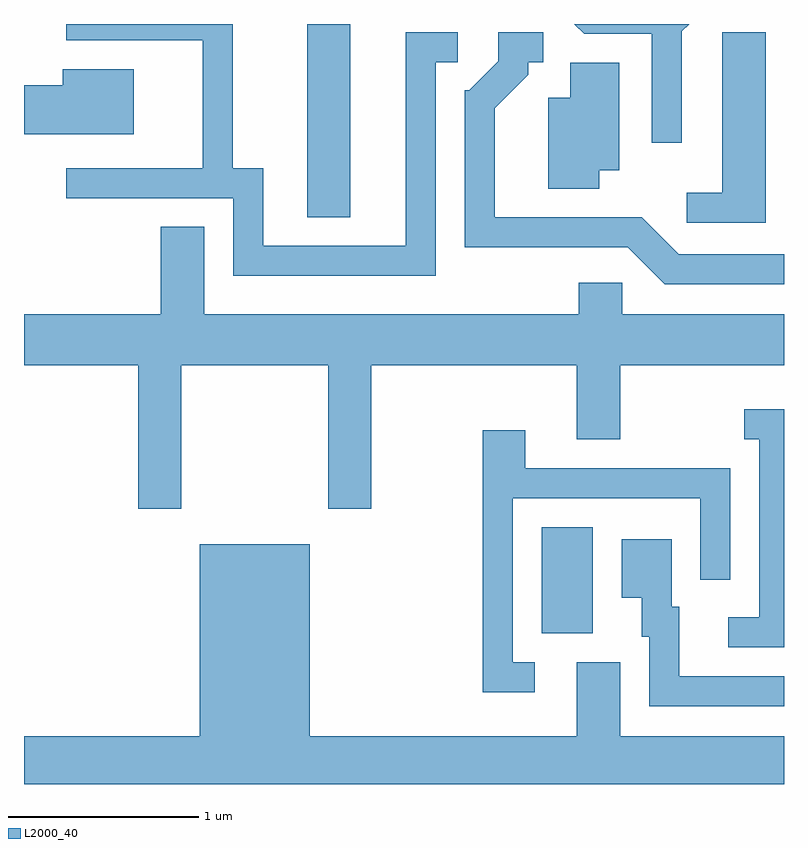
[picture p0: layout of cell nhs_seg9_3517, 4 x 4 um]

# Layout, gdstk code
import gdstk
lib = gdstk.Library(unit=1e-6, precision=1e-09)
def R(c, l, rs):  # rectangles x0, y0, x1, y1
    for r in rs: c.add(gdstk.rectangle(r[:2], r[2:], *l))
def P(c, l, *ps):  # polygons
    for p in ps: c.add(gdstk.Polygon(p, *l))
L2000_40 = (2000, 40)

nhs_seg9_3517 = lib.new_cell('nhs_seg9_3517')
R(nhs_seg9_3517, L2000_40, [(290.336,2059.226,290.604,2059.784), (289.101,2061.416,289.329,2062.432)])
P(nhs_seg9_3517, L2000_40, [(291.074,2062.394),(291.112,2062.432),(290.508,2062.432),(290.559,2062.381),(290.916,2062.381),(290.916,2061.808),(291.074,2061.808)],
  [(289.779,2062.231),(289.893,2062.231),(289.893,2062.389),(289.621,2062.389),(289.621,2061.264),(288.869,2061.264),(288.869,2061.674),(288.709,2061.674),(288.709,2062.432),(287.833,2062.432),(287.833,2062.346),(288.551,2062.346),(288.551,2061.674),(287.833,2061.674),(287.833,2061.516),(288.711,2061.516),(288.711,2061.106),(289.779,2061.106)],
  [(291.514,2062.389),(291.286,2062.389),(291.286,2061.544),(291.098,2061.544),(291.098,2061.386),(291.514,2061.386)],
  [(291.611,2061.219),(291.057,2061.219),(290.862,2061.414),(290.089,2061.414),(290.089,2061.989),(290.264,2062.164),(290.264,2062.231),(290.343,2062.231),(290.343,2062.389),(290.106,2062.389),(290.106,2062.237),(289.954,2062.084),(289.931,2062.084),(289.931,2061.256),(290.789,2061.256),(290.984,2061.061),(291.611,2061.061)],
  [(290.639,2061.661),(290.744,2061.661),(290.744,2062.229),(290.486,2062.229),(290.486,2062.044),(290.371,2062.044),(290.371,2061.566),(290.639,2061.566)],
  [(288.189,2062.194),(287.816,2062.194),(287.816,2062.109),(287.611,2062.109),(287.611,2061.851),(288.189,2061.851)],
  [(288.439,2060.636),(289.211,2060.636),(289.211,2059.881),(289.439,2059.881),(289.439,2060.636),(290.521,2060.636),(290.521,2060.246),(290.749,2060.246),(290.749,2060.636),(291.611,2060.636),(291.611,2060.904),(290.759,2060.904),(290.759,2061.069),(290.531,2061.069),(290.531,2060.904),(288.559,2060.904),(288.559,2061.364),(288.331,2061.364),(288.331,2060.904),(287.611,2060.904),(287.611,2060.636),(288.211,2060.636),(288.211,2059.881),(288.439,2059.881)],
  [(291.611,2060.404),(291.403,2060.404),(291.403,2060.246),(291.481,2060.246),(291.481,2059.309),(291.318,2059.309),(291.318,2059.151),(291.611,2059.151)],
  [(290.298,2059.074),(290.184,2059.074),(290.184,2059.936),(291.171,2059.936),(291.171,2059.508),(291.329,2059.508),(291.329,2060.094),(290.249,2060.094),(290.249,2060.294),(290.026,2060.294),(290.026,2058.916),(290.298,2058.916)],
  [(291.611,2058.999),(291.059,2058.999),(291.059,2059.364),(291.019,2059.364),(291.019,2059.719),(290.756,2059.719),(290.756,2059.411),(290.861,2059.411),(290.861,2059.206),(290.901,2059.206),(290.901,2058.841),(291.611,2058.841)],
  [(291.611,2058.684),(290.749,2058.684),(290.749,2059.074),(290.521,2059.074),(290.521,2058.684),(289.114,2058.684),(289.114,2059.694),(288.536,2059.694),(288.536,2058.684),(287.611,2058.684),(287.611,2058.432),(291.611,2058.432)])

lib.write_gds('nhs_seg9_3517.gds')
